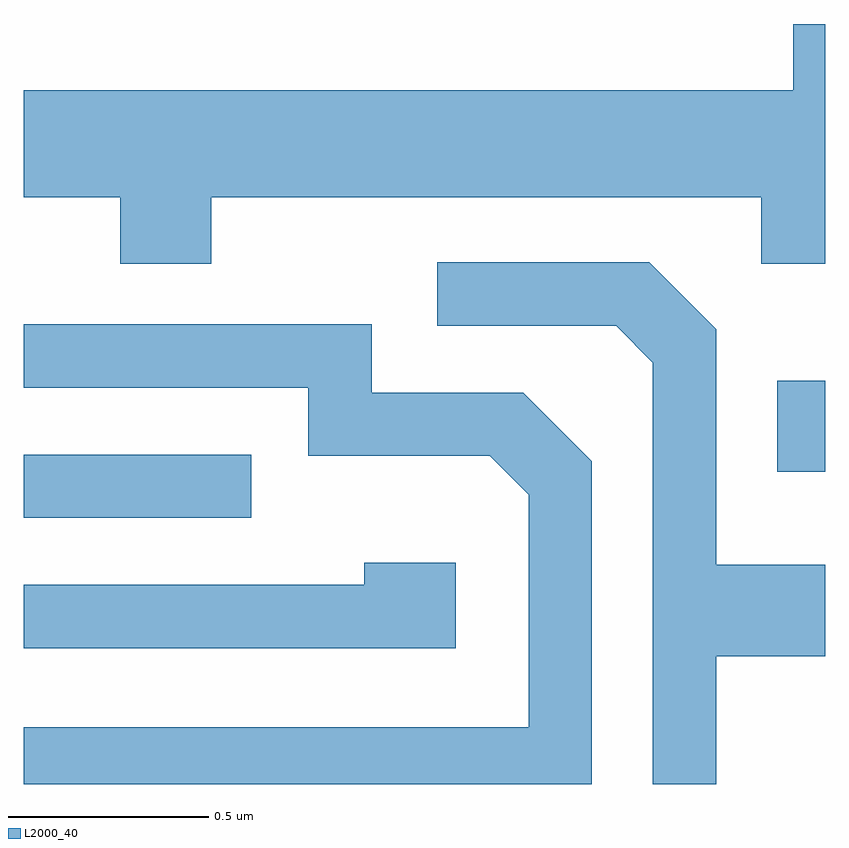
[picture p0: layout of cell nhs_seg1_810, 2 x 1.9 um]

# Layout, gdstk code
import gdstk
lib = gdstk.Library(unit=1e-6, precision=1e-09)
def R(c, l, rs):  # rectangles x0, y0, x1, y1
    for r in rs: c.add(gdstk.rectangle(r[:2], r[2:], *l))
def P(c, l, *ps):  # polygons
    for p in ps: c.add(gdstk.Polygon(p, *l))
L2000_40 = (2000, 40)

nhs_seg1_810 = lib.new_cell('nhs_seg1_810')
R(nhs_seg1_810, L2000_40, [(190.611,965.376,191.178,965.534), (192.491,965.491,192.611,965.719)])
P(nhs_seg1_810, L2000_40, [(191.079,966.176),(192.451,966.176),(192.451,966.011),(192.611,966.011),(192.611,966.609),(192.531,966.609),(192.531,966.444),(190.611,966.444),(190.611,966.176),(190.851,966.176),(190.851,966.011),(191.079,966.011)],
  [(192.339,965.031),(192.611,965.031),(192.611,965.259),(192.339,965.259),(192.339,965.847),(192.172,966.014),(191.643,966.014),(191.643,965.856),(192.089,965.856),(192.181,965.764),(192.181,964.712),(192.339,964.712)],
  [(192.029,965.517),(191.857,965.689),(191.479,965.689),(191.479,965.859),(190.611,965.859),(190.611,965.701),(191.321,965.701),(191.321,965.531),(191.774,965.531),(191.871,965.434),(191.871,964.854),(190.611,964.854),(190.611,964.712),(192.029,964.712)],
  [(191.689,965.264),(191.461,965.264),(191.461,965.209),(190.611,965.209),(190.611,965.051),(191.689,965.051)])

lib.write_gds('nhs_seg1_810.gds')
